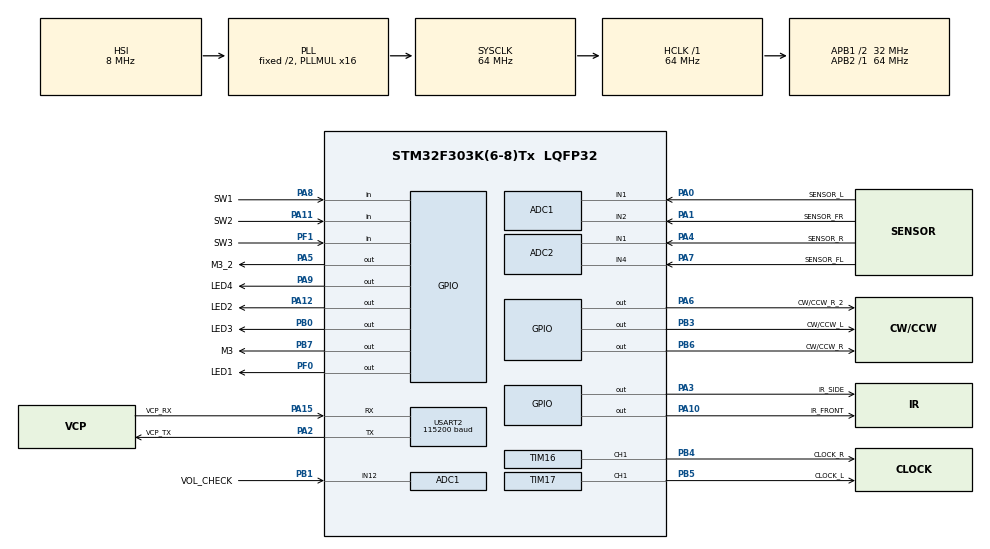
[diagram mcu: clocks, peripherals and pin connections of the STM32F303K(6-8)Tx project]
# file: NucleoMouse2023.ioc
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ADC1.Channel-0\#ChannelRegularConversion=ADC_CHANNEL_1
ADC1.Channel-1\#ChannelRegularConversion=ADC_CHANNEL_2
ADC1.Channel-2\#ChannelRegularConversion=ADC_CHANNEL_12
ADC1.DiscontinuousConvMode=ENABLE
ADC1.EnableInjectedConversion=DISABLE
ADC1.NbrOfConversion=3
ADC1.NbrOfConversionFlag=1
ADC1.Offset-0\#ChannelRegularConversion=0
ADC1.Offset-1\#ChannelRegularConversion=0
ADC1.Offset-2\#ChannelRegularConversion=0
ADC1.OffsetNumber-0\#ChannelRegularConversion=ADC_OFFSET_NONE
ADC1.OffsetNumber-1\#ChannelRegularConversion=ADC_OFFSET_NONE
ADC1.OffsetNumber-2\#ChannelRegularConversion=ADC_OFFSET_NONE
ADC1.Rank-0\#ChannelRegularConversion=1
ADC1.Rank-1\#ChannelRegularConversion=2
ADC1.Rank-2\#ChannelRegularConversion=3
ADC1.SamplingTime-0\#ChannelRegularConversion=ADC_SAMPLETIME_1CYCLE_5
ADC1.SamplingTime-1\#ChannelRegularConversion=ADC_SAMPLETIME_1CYCLE_5
ADC1.SamplingTime-2\#ChannelRegularConversion=ADC_SAMPLETIME_1CYCLE_5
ADC1.SamplingTimeOPAMP-1\#ChannelRegularConversion=ADC_SAMPLETIME_61CYCLES_5
ADC1.SamplingTimeOPAMP-2\#ChannelRegularConversion=ADC_SAMPLETIME_61CYCLES_5
ADC1.SubFamily=STM32F303x8
ADC1.master=1
ADC2.Channel-0\#ChannelRegularConversion=ADC_CHANNEL_1
ADC2.Channel-1\#ChannelRegularConversion=ADC_CHANNEL_4
ADC2.DiscontinuousConvMode=ENABLE
ADC2.EnableInjectedConversion=DISABLE
ADC2.NbrOfConversion=2
ADC2.NbrOfConversionFlag=1
ADC2.Offset-0\#ChannelRegularConversion=0
ADC2.Offset-1\#ChannelRegularConversion=0
ADC2.OffsetNumber-0\#ChannelRegularConversion=ADC_OFFSET_NONE
ADC2.OffsetNumber-1\#ChannelRegularConversion=ADC_OFFSET_NONE
ADC2.Rank-0\#ChannelRegularConversion=1
ADC2.Rank-1\#ChannelRegularConversion=2
ADC2.SamplingTime-0\#ChannelRegularConversion=ADC_SAMPLETIME_1CYCLE_5
ADC2.SamplingTime-1\#ChannelRegularConversion=ADC_SAMPLETIME_1CYCLE_5
ADC2.SubFamily=STM32F303x8
Mcu.Family=STM32F3
Mcu.Name=STM32F303K(6-8)Tx
Mcu.Package=LQFP32
NVIC.PriorityGroup=NVIC_PRIORITYGROUP_4
NVIC.TIM1_TRG_COM_TIM17_IRQn=true\:0\:0\:false\:false\:true\:true\:true\:true
NVIC.TIM1_UP_TIM16_IRQn=true\:0\:0\:false\:false\:true\:true\:true\:true
NVIC.TIM6_DAC1_IRQn=true\:0\:0\:false\:false\:true\:true\:true\:true
PA0.GPIO_Label=SENSOR_L
PA0.Mode=IN1-Single-Ended
PA0.Signal=ADC1_IN1
PA1.GPIO_Label=SENSOR_FR
PA1.Mode=IN2-Single-Ended
PA1.Signal=ADC1_IN2
PA10.GPIO_Label=IR_FRONT
PA10.Signal=GPIO_Output
PA11.GPIO_Label=SW2
PA11.GPIO_PuPd=GPIO_PULLUP
PA11.Signal=GPIO_Input
PA12.GPIO_Label=LED2
PA12.Signal=GPIO_Output
PA13.GPIO_Label=SWDIO
PA13.Mode=Serial_Wire
PA13.Signal=SYS_JTMS-SWDIO
PA14.GPIO_Label=SWCLK
PA14.Mode=Serial_Wire
PA14.Signal=SYS_JTCK-SWCLK
PA15.GPIO_Label=VCP_RX
PA15.Mode=Asynchronous
PA15.Signal=USART2_RX
PA2.GPIO_Label=VCP_TX
PA2.Mode=Asynchronous
PA2.Signal=USART2_TX
PA3.GPIO_Label=IR_SIDE
PA3.Signal=GPIO_Output
PA4.GPIO_Label=SENSOR_R
PA4.Mode=IN1-Single-Ended
PA4.Signal=ADC2_IN1
PA5.GPIO_Label=M3_2
PA5.Signal=GPIO_Output
PA6.GPIO_Label=CW/CCW_R_2
PA6.Signal=GPIO_Output
PA7.GPIO_Label=SENSOR_FL
PA7.Mode=IN4-Single-Ended
PA7.Signal=ADC2_IN4
PA8.GPIO_Label=SW1
PA8.GPIO_PuPd=GPIO_PULLUP
PA8.Signal=GPIO_Input
PA9.GPIO_Label=LED4
PA9.GPIO_PuPd=GPIO_NOPULL
PA9.Signal=GPIO_Output
PB0.GPIO_Label=LED3
PB0.Signal=GPIO_Output
PB1.GPIO_Label=VOL_CHECK
PB1.Mode=IN12-Single-Ended
PB1.Signal=ADC1_IN12
PB3.GPIO_Label=CW/CCW_L
PB3.Signal=GPIO_Output
PB4.GPIO_Label=CLOCK_R
PB4.Signal=S_TIM16_CH1
PB5.GPIO_Label=CLOCK_L
PB5.Signal=S_TIM17_CH1
PB6.GPIO_Label=CW/CCW_R
PB6.Signal=GPIO_Output
PB7.GPIO_Label=M3
PB7.GPIO_PuPd=GPIO_NOPULL
PB7.Signal=GPIO_Output
PF0\ /\ OSC_IN.GPIO_Label=LED1
PF0\ /\ OSC_IN.Signal=GPIO_Output
PF1\ /\ OSC_OUT.GPIO_Label=SW3
PF1\ /\ OSC_OUT.GPIO_PuPd=GPIO_PULLUP
PF1\ /\ OSC_OUT.Signal=GPIO_Input
ProjectManager.HeapSize=0x200
ProjectManager.StackSize=0x400
ProjectManager.TargetToolchain=STM32CubeIDE
RCC.AHBFreq_Value=64000000
RCC.APB1CLKDivider=RCC_HCLK_DIV2
RCC.APB1Freq_Value=32000000
RCC.APB1TimFreq_Value=64000000
RCC.APB2Freq_Value=64000000
RCC.APB2TimFreq_Value=64000000
RCC.CortexFreq_Value=64000000
RCC.HCLKFreq_Value=64000000
RCC.HSE_VALUE=8000000
RCC.HSI_VALUE=8000000
RCC.PLLMUL=RCC_PLL_MUL16
RCC.SYSCLKFreq_VALUE=64000000
RCC.SYSCLKSourceVirtual=RCC_SYSCLKSOURCE_PLLCLK
SH.S_TIM16_CH1.0=TIM16_CH1,PWM Generation1 CH1
SH.S_TIM17_CH1.0=TIM17_CH1,PWM Generation1 CH1
TIM16.Channel=TIM_CHANNEL_1
TIM16.Period=0
TIM16.Prescaler=64-1
TIM16.Pulse=25
TIM17.Channel=TIM_CHANNEL_1
TIM17.Period=0
TIM17.Prescaler=64-1
TIM17.Pulse=25
TIM6.Period=4000
TIM6.Prescaler=64-1
USART2.BaudRate=115200
USART2.VirtualMode-Asynchronous=VM_ASYNC
VP_TIM16_VS_ClockSourceINT.Mode=Enable_Timer
VP_TIM17_VS_ClockSourceINT.Mode=Enable_Timer
VP_TIM6_VS_ClockSourceINT.Mode=Enable_Timer
board=NUCLEO-F303K8

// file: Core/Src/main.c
/* USER CODE BEGIN Header */

/************************************************************
    WMMC Nucleoマウス 標準�?�ログラ�?
    2007~2012     H8/3694f版が運用され�?
    2013/03/01    LPC向けに移�?
    2013/09/20    標準化のため修正
    2017/11/12    STM32向けに移�?
    2019/05/01    STM32/CubeHAL向けに移�?
    2023/03/XX    Nucleoマウス向けに移�?
 ************************************************************/

/**
 ******************************************************************************
 * @file           : main.c
 * @brief          : Main program body
 ******************************************************************************
 * @attention
 *
 * <h2><center>&copy; Copyright (c) 2019 STMicroelectronics.
 * All rights reserved.</center></h2>
 *
 * This software component is licensed by ST under BSD 3-Clause license,
 * the "License"; You may not use this file except in compliance with the
 * License. You may obtain a copy of the License at:
 *                        opensource.org/licenses/BSD-3-Clause
 *
 ******************************************************************************
 */
/* USER CODE END Header */
#include "main.h"

/* USER CODE BEGIN Includes */

#define MAIN_C_
#include "global.h"

/* USER CODE END Includes */

ADC_HandleTypeDef hadc1;
ADC_HandleTypeDef hadc2;

TIM_HandleTypeDef htim6;
TIM_HandleTypeDef htim16;
TIM_HandleTypeDef htim17;

UART_HandleTypeDef huart2;

void SystemClock_Config(void);
static void MX_GPIO_Init(void);
static void MX_ADC1_Init(void);
static void MX_ADC2_Init(void);
static void MX_TIM6_Init(void);
static void MX_TIM16_Init(void);
static void MX_TIM17_Init(void);
static void MX_USART2_UART_Init(void);

int main(void)
{

  /* MCU Configuration--------------------------------------------------------*/

  /* Reset of all peripherals, Initializes the Flash interface and the Systick. */
  HAL_Init();

  /* Configure the system clock */
  SystemClock_Config();

  /* Initialize all configured peripherals */
  MX_GPIO_Init();
  MX_ADC1_Init();
  MX_ADC2_Init();
  MX_TIM6_Init();
  MX_TIM16_Init();
  MX_TIM17_Init();
  MX_USART2_UART_Init();
  /* USER CODE BEGIN 2 */

    setbuf(stdout, NULL);  // printf用

    sensor_init();  // センサ系の変数の初期化，ADコンバ�?�タの設定とセンサ値取得に使用するタイマ�?�初期設�?
                    // sensor.c で定義されて�?�?
    drive_init();  // 走行系の変数の初期化，モーター関係�?�GPIO設定とPWM出力に使�?タイマ割込みの設�?
                   // drive.c で定義されて�?�?
    search_init();  // 探索系の変数の初期化，search.c で定義されて�?�?

    printf("***** WMMC Nucleo Mouse 2023 *****\n");

    //====変数宣?��?====
    int mode = 0;

  /* USER CODE END 2 */

  /* Infinite loop */
  /* USER CODE BEGIN WHILE */
    while (1) {
        //====モード選?��?====
        mode = select_mode(
            mode);  // select_mode(); は auxiliary.c で定義されて�?�?

        //----モード選�?----
        switch (mode) {
            case 0:
                //----基準�?�を取�?----
                // こ�?�動作�?�スタート時に自動で行うと便利で?��case 1~
                // ではそうなって�?る．このモード�?�手動で行う場合に使用する?�?
                printf("Mode 0: Get Base Value.\n");
                get_base();  // 壁制御のための基準�?�取得，sensor.c
                             // で定義されて�?�?
                break;

            case 1:
                //----探索走�?----
                printf("Mode 1: 1st Run.\n");
                drive_enable_motor();  // ス�?�?ピングモータを励磁す�?
                                       // drive.cで定義されて�?�?

                MF.FLAG.SCND = 0;  // 二次走行フラグをクリア
                                   // マウスフラグはglobal.h に定義あり
                goal_x = GOAL_X;
                goal_y = GOAL_Y;  // ゴール座標を設定，GOAL_X・GOAL_Y はglobal.h
                                  // に定義あり

                rotate_R90();  // 右に90度回転する drive.c で定義されて�?�?
                drive_wait();  // 機体が安定するまで�?機，drive.h に定義あり
                set_position(0);  // 尻当てをして機体位置を中央へ drive.c
                                  // で定義されて�?�?
                drive_wait();  // 機体が安定するまで�?�?
                rotate_L90();  // 左に90度回転する drive.c で定義されて�?�?
                drive_wait();     // 機体が安定するまで�?�?
                set_position(0);  // 尻当てをして機体位置を中央へ
                drive_wait();     // 機体が安定するまで�?�?

                get_base();  // 壁制御のための基準取�?

                searchB();  // 現在位置をスタート地点にしてからゴール座標まで探索走�?
                HAL_Delay(500);

                goal_x = goal_y = 0;  // ゴール座標をスタート地点に設定す�?
                searchB();  // 探索しながらスタート地点に戻�?

                goal_x = GOAL_X;
                goal_y = GOAL_Y;  // ゴール座標を設�?

                drive_disable_motor();  // ス�?�?ピングモータの励磁を�?�?
                break;

            case 2:
                //----二次?��最短?��走�?----
                printf("Mode 2: 2nd Run.\n");
                drive_enable_motor();

                MF.FLAG.SCND = 1;  // 二次走行フラグをセ�?�?
                goal_x = GOAL_X;
                goal_y = GOAL_Y;

                rotate_R90();
                drive_wait();
                set_position(0);
                drive_wait();
                rotate_L90();
                drive_wait();
                set_position(0);
                drive_wait();

                get_base();

                searchB();
                HAL_Delay(500);

                goal_x = goal_y = 0;
                searchB();

                goal_x = GOAL_X;
                goal_y = GOAL_Y;

                drive_disable_motor();
                break;

            case 3:

                //----空きモー�?----
                // マイクロマウスのルールでは5�?間で5回走行できるので?���?�続で何回か走行するモードを作っておくと良�?�?
                // ggr「�?�イクロマウス オートスタート�??

                printf("Mode 3: .\n");

                break;

            case 4:

                //----空きモー�?----
                printf("Mode 4: .\n");
                break;

            case 5:

                //----空きモー�?----
                printf("Mode 5: .\n");
                break;

            case 6:
                //----�?スト走�?----
                // こ�?�モードを使って区画距離?��旋回角度などのパラメータを調整する

                printf("Mode 6: Test Run.\n");
                test_run();  // test_run(); は drive.c で定義されて�?�?
                break;

            case 7:
                //----センサチェ�?ク----
                // こ�?�モードを使ってセンサで壁�?�有無を判断するための閾値を調整する

                printf("Sensor Check.\n");
                while (1) {
                    get_wall_info();
                    led_write(wall_info & 0x44, wall_info & 0x88,
                              wall_info & 0x11);
                    printf(
                        " ad_l : %4lu, ad_fl : %4lu, ad_fr : %4lu, ad_r : %4lu, "
                        "ad_batt : %4lu\n",
                        ad_l, ad_fl, ad_fr, ad_r, ad_batt);
                    printf("dif_l : %4d, dif_r : %4d\n", dif_l, dif_r);
                    if (wall_info & 0x11) {
                        printf("Left : [X], ");
                    } else {
                        printf("Left : [ ], ");
                    }
                    if (wall_info & 0x88) {
                        printf("Front : [X], ");
                    } else {
                        printf("Front : [ ], ");
                    }
                    if (wall_info & 0x44) {
                        printf("Right : [X]\n");
                    } else {
                        printf("Right : [ ]\n");
                    }

                    // バッ�?リーの電圧を�?圧したも�?�を測定し?���?�をad_battに格納して�?る�?interrupt.c
                    // 参�?�?�?
                    // これを利用してバッ�?リーが消�?�してきたらLEDなどで知らせる機�?�を追�?すると便利

                    // printf("ad_batt : %4d\n", ad_batt);

                    HAL_Delay(333);
                }
                break;
        }

    /* USER CODE END WHILE */

    }
}

void SystemClock_Config(void)
{
  RCC_OscInitTypeDef RCC_OscInitStruct = {0};
  RCC_ClkInitTypeDef RCC_ClkInitStruct = {0};
  RCC_PeriphCLKInitTypeDef PeriphClkInit = {0};

  /** Initializes the RCC Oscillators according to the specified parameters
  * in the RCC_OscInitTypeDef structure.
  */
  RCC_OscInitStruct.OscillatorType = RCC_OSCILLATORTYPE_HSI;
  RCC_OscInitStruct.HSIState = RCC_HSI_ON;
  RCC_OscInitStruct.HSICalibrationValue = RCC_HSICALIBRATION_DEFAULT;
  RCC_OscInitStruct.PLL.PLLState = RCC_PLL_ON;
  RCC_OscInitStruct.PLL.PLLSource = RCC_PLLSOURCE_HSI;
  RCC_OscInitStruct.PLL.PLLMUL = RCC_PLL_MUL16;
  if (HAL_RCC_OscConfig(&RCC_OscInitStruct) != HAL_OK)
  {
    Error_Handler();
  }

  /** Initializes the CPU, AHB and APB buses clocks
  */
  RCC_ClkInitStruct.ClockType = RCC_CLOCKTYPE_HCLK|RCC_CLOCKTYPE_SYSCLK
                              |RCC_CLOCKTYPE_PCLK1|RCC_CLOCKTYPE_PCLK2;
  RCC_ClkInitStruct.SYSCLKSource = RCC_SYSCLKSOURCE_PLLCLK;
  RCC_ClkInitStruct.AHBCLKDivider = RCC_SYSCLK_DIV1;
  RCC_ClkInitStruct.APB1CLKDivider = RCC_HCLK_DIV2;
  RCC_ClkInitStruct.APB2CLKDivider = RCC_HCLK_DIV1;

  if (HAL_RCC_ClockConfig(&RCC_ClkInitStruct, FLASH_LATENCY_2) != HAL_OK)
  {
    Error_Handler();
  }
  PeriphClkInit.PeriphClockSelection = RCC_PERIPHCLK_ADC12;
  PeriphClkInit.Adc12ClockSelection = RCC_ADC12PLLCLK_DIV1;
  if (HAL_RCCEx_PeriphCLKConfig(&PeriphClkInit) != HAL_OK)
  {
    Error_Handler();
  }
}

static void MX_ADC1_Init(void)
{

  ADC_MultiModeTypeDef multimode = {0};
  ADC_ChannelConfTypeDef sConfig = {0};

  /** Common config
  */
  hadc1.Instance = ADC1;
  hadc1.Init.ClockPrescaler = ADC_CLOCK_ASYNC_DIV1;
  hadc1.Init.Resolution = ADC_RESOLUTION_12B;
  hadc1.Init.ScanConvMode = ADC_SCAN_ENABLE;
  hadc1.Init.ContinuousConvMode = DISABLE;
  hadc1.Init.DiscontinuousConvMode = ENABLE;
  hadc1.Init.NbrOfDiscConversion = 1;
  hadc1.Init.ExternalTrigConvEdge = ADC_EXTERNALTRIGCONVEDGE_NONE;
  hadc1.Init.ExternalTrigConv = ADC_SOFTWARE_START;
  hadc1.Init.DataAlign = ADC_DATAALIGN_RIGHT;
  hadc1.Init.NbrOfConversion = 3;
  hadc1.Init.DMAContinuousRequests = DISABLE;
  hadc1.Init.EOCSelection = ADC_EOC_SINGLE_CONV;
  hadc1.Init.LowPowerAutoWait = DISABLE;
  hadc1.Init.Overrun = ADC_OVR_DATA_OVERWRITTEN;
  if (HAL_ADC_Init(&hadc1) != HAL_OK)
  {
    Error_Handler();
  }

  /** Configure the ADC multi-mode
  */
  multimode.Mode = ADC_MODE_INDEPENDENT;
  if (HAL_ADCEx_MultiModeConfigChannel(&hadc1, &multimode) != HAL_OK)
  {
    Error_Handler();
  }

  /** Configure Regular Channel
  */
  sConfig.Channel = ADC_CHANNEL_1;
  sConfig.Rank = ADC_REGULAR_RANK_1;
  sConfig.SingleDiff = ADC_SINGLE_ENDED;
  sConfig.SamplingTime = ADC_SAMPLETIME_1CYCLE_5;
  sConfig.OffsetNumber = ADC_OFFSET_NONE;
  sConfig.Offset = 0;
  if (HAL_ADC_ConfigChannel(&hadc1, &sConfig) != HAL_OK)
  {
    Error_Handler();
  }

  /** Configure Regular Channel
  */
  sConfig.Channel = ADC_CHANNEL_2;
  sConfig.Rank = ADC_REGULAR_RANK_2;
  if (HAL_ADC_ConfigChannel(&hadc1, &sConfig) != HAL_OK)
  {
    Error_Handler();
  }

  /** Configure Regular Channel
  */
  sConfig.Channel = ADC_CHANNEL_12;
  sConfig.Rank = ADC_REGULAR_RANK_3;
  if (HAL_ADC_ConfigChannel(&hadc1, &sConfig) != HAL_OK)
  {
    Error_Handler();
  }

}

static void MX_ADC2_Init(void)
{

  ADC_ChannelConfTypeDef sConfig = {0};

  /** Common config
  */
  hadc2.Instance = ADC2;
  hadc2.Init.ClockPrescaler = ADC_CLOCK_ASYNC_DIV1;
  hadc2.Init.Resolution = ADC_RESOLUTION_12B;
  hadc2.Init.ScanConvMode = ADC_SCAN_ENABLE;
  hadc2.Init.ContinuousConvMode = DISABLE;
  hadc2.Init.DiscontinuousConvMode = ENABLE;
  hadc2.Init.NbrOfDiscConversion = 1;
  hadc2.Init.ExternalTrigConvEdge = ADC_EXTERNALTRIGCONVEDGE_NONE;
  hadc2.Init.ExternalTrigConv = ADC_SOFTWARE_START;
  hadc2.Init.DataAlign = ADC_DATAALIGN_RIGHT;
  hadc2.Init.NbrOfConversion = 2;
  hadc2.Init.DMAContinuousRequests = DISABLE;
  hadc2.Init.EOCSelection = ADC_EOC_SINGLE_CONV;
  hadc2.Init.LowPowerAutoWait = DISABLE;
  hadc2.Init.Overrun = ADC_OVR_DATA_OVERWRITTEN;
  if (HAL_ADC_Init(&hadc2) != HAL_OK)
  {
    Error_Handler();
  }

  /** Configure Regular Channel
  */
  sConfig.Channel = ADC_CHANNEL_1;
  sConfig.Rank = ADC_REGULAR_RANK_1;
  sConfig.SingleDiff = ADC_SINGLE_ENDED;
  sConfig.SamplingTime = ADC_SAMPLETIME_1CYCLE_5;
  sConfig.OffsetNumber = ADC_OFFSET_NONE;
  sConfig.Offset = 0;
  if (HAL_ADC_ConfigChannel(&hadc2, &sConfig) != HAL_OK)
  {
    Error_Handler();
  }

  /** Configure Regular Channel
  */
  sConfig.Channel = ADC_CHANNEL_4;
  sConfig.Rank = ADC_REGULAR_RANK_2;
  if (HAL_ADC_ConfigChannel(&hadc2, &sConfig) != HAL_OK)
  {
    Error_Handler();
  }

}

static void MX_TIM6_Init(void)
{

  TIM_MasterConfigTypeDef sMasterConfig = {0};

  htim6.Instance = TIM6;
  htim6.Init.Prescaler = 64-1;
  htim6.Init.CounterMode = TIM_COUNTERMODE_UP;
  htim6.Init.Period = 4000;
  htim6.Init.AutoReloadPreload = TIM_AUTORELOAD_PRELOAD_DISABLE;
  if (HAL_TIM_Base_Init(&htim6) != HAL_OK)
  {
    Error_Handler();
  }
  sMasterConfig.MasterOutputTrigger = TIM_TRGO_RESET;
  sMasterConfig.MasterSlaveMode = TIM_MASTERSLAVEMODE_DISABLE;
  if (HAL_TIMEx_MasterConfigSynchronization(&htim6, &sMasterConfig) != HAL_OK)
  {
    Error_Handler();
  }

}

static void MX_TIM16_Init(void)
{

  TIM_OC_InitTypeDef sConfigOC = {0};
  TIM_BreakDeadTimeConfigTypeDef sBreakDeadTimeConfig = {0};

  htim16.Instance = TIM16;
  htim16.Init.Prescaler = 64-1;
  htim16.Init.CounterMode = TIM_COUNTERMODE_UP;
  htim16.Init.Period = 0;
  htim16.Init.ClockDivision = TIM_CLOCKDIVISION_DIV1;
  htim16.Init.RepetitionCounter = 0;
  htim16.Init.AutoReloadPreload = TIM_AUTORELOAD_PRELOAD_DISABLE;
  if (HAL_TIM_Base_Init(&htim16) != HAL_OK)
  {
    Error_Handler();
  }
  if (HAL_TIM_PWM_Init(&htim16) != HAL_OK)
  {
    Error_Handler();
  }
  sConfigOC.OCMode = TIM_OCMODE_PWM1;
  sConfigOC.Pulse = 25;
  sConfigOC.OCPolarity = TIM_OCPOLARITY_HIGH;
  sConfigOC.OCNPolarity = TIM_OCNPOLARITY_HIGH;
  sConfigOC.OCFastMode = TIM_OCFAST_DISABLE;
  sConfigOC.OCIdleState = TIM_OCIDLESTATE_RESET;
  sConfigOC.OCNIdleState = TIM_OCNIDLESTATE_RESET;
  if (HAL_TIM_PWM_ConfigChannel(&htim16, &sConfigOC, TIM_CHANNEL_1) != HAL_OK)
  {
    Error_Handler();
  }
  sBreakDeadTimeConfig.OffStateRunMode = TIM_OSSR_DISABLE;
  sBreakDeadTimeConfig.OffStateIDLEMode = TIM_OSSI_DISABLE;
  sBreakDeadTimeConfig.LockLevel = TIM_LOCKLEVEL_OFF;
  sBreakDeadTimeConfig.DeadTime = 0;
  sBreakDeadTimeConfig.BreakState = TIM_BREAK_DISABLE;
  sBreakDeadTimeConfig.BreakPolarity = TIM_BREAKPOLARITY_HIGH;
  sBreakDeadTimeConfig.BreakFilter = 0;
  sBreakDeadTimeConfig.AutomaticOutput = TIM_AUTOMATICOUTPUT_DISABLE;
  if (HAL_TIMEx_ConfigBreakDeadTime(&htim16, &sBreakDeadTimeConfig) != HAL_OK)
  {
    Error_Handler();
  }
  HAL_TIM_MspPostInit(&htim16);

}

static void MX_TIM17_Init(void)
{

  TIM_OC_InitTypeDef sConfigOC = {0};
  TIM_BreakDeadTimeConfigTypeDef sBreakDeadTimeConfig = {0};

  htim17.Instance = TIM17;
  htim17.Init.Prescaler = 64-1;
  htim17.Init.CounterMode = TIM_COUNTERMODE_UP;
  htim17.Init.Period = 0;
  htim17.Init.ClockDivision = TIM_CLOCKDIVISION_DIV1;
  htim17.Init.RepetitionCounter = 0;
  htim17.Init.AutoReloadPreload = TIM_AUTORELOAD_PRELOAD_DISABLE;
  if (HAL_TIM_Base_Init(&htim17) != HAL_OK)
  {
    Error_Handler();
  }
  if (HAL_TIM_PWM_Init(&htim17) != HAL_OK)
  {
    Error_Handler();
  }
  sConfigOC.OCMode = TIM_OCMODE_PWM1;
  sConfigOC.Pulse = 25;
  sConfigOC.OCPolarity = TIM_OCPOLARITY_HIGH;
  sConfigOC.OCNPolarity = TIM_OCNPOLARITY_HIGH;
  sConfigOC.OCFastMode = TIM_OCFAST_DISABLE;
  sConfigOC.OCIdleState = TIM_OCIDLESTATE_RESET;
  sConfigOC.OCNIdleState = TIM_OCNIDLESTATE_RESET;
  if (HAL_TIM_PWM_ConfigChannel(&htim17, &sConfigOC, TIM_CHANNEL_1) != HAL_OK)
  {
    Error_Handler();
  }
  sBreakDeadTimeConfig.OffStateRunMode = TIM_OSSR_DISABLE;
  sBreakDeadTimeConfig.OffStateIDLEMode = TIM_OSSI_DISABLE;
  sBreakDeadTimeConfig.LockLevel = TIM_LOCKLEVEL_OFF;
  sBreakDeadTimeConfig.DeadTime = 0;
  sBreakDeadTimeConfig.BreakState = TIM_BREAK_DISABLE;
  sBreakDeadTimeConfig.BreakPolarity = TIM_BREAKPOLARITY_HIGH;
  sBreakDeadTimeConfig.BreakFilter = 0;
  sBreakDeadTimeConfig.AutomaticOutput = TIM_AUTOMATICOUTPUT_DISABLE;
  if (HAL_TIMEx_ConfigBreakDeadTime(&htim17, &sBreakDeadTimeConfig) != HAL_OK)
  {
    Error_Handler();
  }
  HAL_TIM_MspPostInit(&htim17);

}

static void MX_USART2_UART_Init(void)
{

  huart2.Instance = USART2;
  huart2.Init.BaudRate = 115200;
  huart2.Init.WordLength = UART_WORDLENGTH_8B;
  huart2.Init.StopBits = UART_STOPBITS_1;
  huart2.Init.Parity = UART_PARITY_NONE;
  huart2.Init.Mode = UART_MODE_TX_RX;
  huart2.Init.HwFlowCtl = UART_HWCONTROL_NONE;
  huart2.Init.OverSampling = UART_OVERSAMPLING_16;
  huart2.Init.OneBitSampling = UART_ONE_BIT_SAMPLE_DISABLE;
  huart2.AdvancedInit.AdvFeatureInit = UART_ADVFEATURE_NO_INIT;
  if (HAL_UART_Init(&huart2) != HAL_OK)
  {
    Error_Handler();
  }

}

static void MX_GPIO_Init(void)
{
  GPIO_InitTypeDef GPIO_InitStruct = {0};

  /* GPIO Ports Clock Enable */
  __HAL_RCC_GPIOF_CLK_ENABLE();
  __HAL_RCC_GPIOA_CLK_ENABLE();
  __HAL_RCC_GPIOB_CLK_ENABLE();

  /*Configure GPIO pin Output Level */
  HAL_GPIO_WritePin(LED1_GPIO_Port, LED1_Pin, GPIO_PIN_RESET);

  /*Configure GPIO pin Output Level */
  HAL_GPIO_WritePin(GPIOA, IR_SIDE_Pin|M3_2_Pin|CW_CCW_R_2_Pin|LED4_Pin
                          |IR_FRONT_Pin|LED2_Pin, GPIO_PIN_RESET);

  /*Configure GPIO pin Output Level */
  HAL_GPIO_WritePin(GPIOB, LED3_Pin|CW_CCW_L_Pin|CW_CCW_R_Pin|M3_Pin, GPIO_PIN_RESET);

  /*Configure GPIO pin : LED1_Pin */
  GPIO_InitStruct.Pin = LED1_Pin;
  GPIO_InitStruct.Mode = GPIO_MODE_OUTPUT_PP;
  GPIO_InitStruct.Pull = GPIO_NOPULL;
  GPIO_InitStruct.Speed = GPIO_SPEED_FREQ_LOW;
  HAL_GPIO_Init(LED1_GPIO_Port, &GPIO_InitStruct);

  /*Configure GPIO pin : SW3_Pin */
  GPIO_InitStruct.Pin = SW3_Pin;
  GPIO_InitStruct.Mode = GPIO_MODE_INPUT;
  GPIO_InitStruct.Pull = GPIO_PULLUP;
  HAL_GPIO_Init(SW3_GPIO_Port, &GPIO_InitStruct);

  /*Configure GPIO pins : IR_SIDE_Pin M3_2_Pin CW_CCW_R_2_Pin LED4_Pin
                           IR_FRONT_Pin LED2_Pin */
  GPIO_InitStruct.Pin = IR_SIDE_Pin|M3_2_Pin|CW_CCW_R_2_Pin|LED4_Pin
                          |IR_FRONT_Pin|LED2_Pin;
  GPIO_InitStruct.Mode = GPIO_MODE_OUTPUT_PP;
  GPIO_InitStruct.Pull = GPIO_NOPULL;
  GPIO_InitStruct.Speed = GPIO_SPEED_FREQ_LOW;
  HAL_GPIO_Init(GPIOA, &GPIO_InitStruct);

  /*Configure GPIO pins : LED3_Pin CW_CCW_L_Pin CW_CCW_R_Pin M3_Pin */
  GPIO_InitStruct.Pin = LED3_Pin|CW_CCW_L_Pin|CW_CCW_R_Pin|M3_Pin;
  GPIO_InitStruct.Mode = GPIO_MODE_OUTPUT_PP;
  GPIO_InitStruct.Pull = GPIO_NOPULL;
  GPIO_InitStruct.Speed = GPIO_SPEED_FREQ_LOW;
  HAL_GPIO_Init(GPIOB, &GPIO_InitStruct);

  /*Configure GPIO pins : SW1_Pin SW2_Pin */
  GPIO_InitStruct.Pin = SW1_Pin|SW2_Pin;
  GPIO_InitStruct.Mode = GPIO_MODE_INPUT;
  GPIO_InitStruct.Pull = GPIO_PULLUP;
  HAL_GPIO_Init(GPIOA, &GPIO_InitStruct);

}

void Error_Handler(void)
{
  /* USER CODE BEGIN Error_Handler_Debug */
    /* User can add his own implementation to report the HAL error return state
     */

  /* USER CODE END Error_Handler_Debug */
}

#ifdef  USE_FULL_ASSERT
/**
  * @brief  Reports the name of the source file and the source line number
  *         where the assert_param error has occurred.
  * @param  file: pointer to the source file name
  * @param  line: assert_param error line source number
  * @retval None
  */
void assert_failed(uint8_t *file, uint32_t line)
{
  /* USER CODE BEGIN 6 */
    /* User can add his own implementation to report the file name and line
       number, tex: printf("Wrong parameters value: file %s on line %d\r\n",
       file, line) */
  /* USER CODE END 6 */
}
#endif /* USE_FULL_ASSERT */
